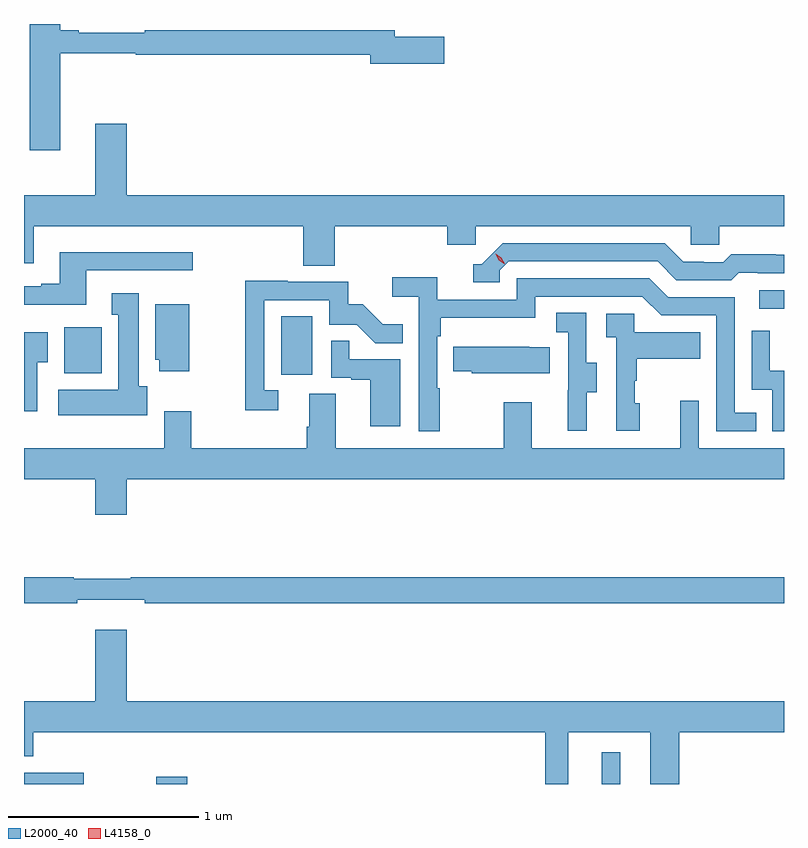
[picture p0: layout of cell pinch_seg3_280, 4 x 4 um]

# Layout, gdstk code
import gdstk
lib = gdstk.Library(unit=1e-6, precision=1e-09)
def R(c, l, rs):  # rectangles x0, y0, x1, y1
    for r in rs: c.add(gdstk.rectangle(r[:2], r[2:], *l))
def P(c, l, *ps):  # polygons
    for p in ps: c.add(gdstk.Polygon(p, *l))
L2000_40 = (2000, 40)
L4158_0 = (4158, 0)

pinch_seg3_280 = lib.new_cell('pinch_seg3_280')
R(pinch_seg3_280, L2000_40, [(931.864,713.964,932.179,714.024), (932.561,713.964,932.722,714.001), (934.904,713.964,935.002,714.13), (933.218,716.118,933.382,716.425), (932.075,716.126,932.272,716.368), (935.733,716.466,935.864,716.562)])
P(pinch_seg3_280, L2000_40, [(932.056,717.81),(932.452,717.81),(932.452,717.802),(933.686,717.802),(933.686,717.755),(934.075,717.755),(934.075,717.897),(933.814,717.897),(933.814,717.931),(932.5,717.931),(932.5,717.918),(932.152,717.918),(932.152,717.931),(932.056,717.931),(932.056,717.964),(931.895,717.964),(931.895,717.3),(932.056,717.3)],
  [(933.5,716.9),(934.091,716.9),(934.091,716.802),(934.242,716.802),(934.242,716.9),(935.373,716.9),(935.373,716.802),(935.523,716.802),(935.523,716.9),(935.864,716.9),(935.864,717.064),(932.404,717.064),(932.404,717.439),(932.24,717.439),(932.24,717.064),(931.864,717.064),(931.864,716.706),(931.915,716.706),(931.915,716.9),(933.335,716.9),(933.335,716.692),(933.5,716.692)],
  [(934.368,716.667),(934.416,716.715),(935.199,716.715),(935.298,716.616),(935.587,716.616),(935.626,716.655),(935.725,716.655),(935.725,716.652),(935.864,716.652),(935.864,716.749),(935.82,716.749),(935.82,716.752),(935.587,716.752),(935.545,716.709),(935.442,716.709),(935.442,716.712),(935.335,716.712),(935.236,716.811),(934.383,716.811),(934.272,716.7),(934.229,716.7),(934.229,716.604),(934.368,716.604)],
  [(932.191,716.667),(932.752,716.667),(932.752,716.764),(932.051,716.764),(932.051,716.596),(931.955,716.596),(931.955,716.583),(931.864,716.583),(931.864,716.486),(932.191,716.486)],
  [(934.051,716.048),(934.038,716.048),(934.038,716.321),(934.058,716.321),(934.058,716.417),(934.554,716.417),(934.554,716.529),(935.118,716.529),(935.217,716.43),(935.508,716.43),(935.508,715.821),(935.717,715.821),(935.717,715.917),(935.604,715.917),(935.604,716.526),(935.254,716.526),(935.155,716.625),(934.458,716.625),(934.458,716.514),(934.04,716.514),(934.04,716.63),(933.801,716.63),(933.801,716.528),(933.942,716.528),(933.942,715.821),(934.051,715.821)],
  [(933.202,716.037),(933.129,716.037),(933.129,716.511),(933.471,716.511),(933.471,716.382),(933.615,716.382),(933.713,716.284),(933.857,716.284),(933.857,716.383),(933.753,716.383),(933.646,716.49),(933.57,716.49),(933.57,716.607),(933.251,716.607),(933.251,716.612),(933.028,716.612),(933.028,715.932),(933.202,715.932)],
  [(932.512,716.058),(932.467,716.058),(932.467,716.548),(932.327,716.548),(932.327,716.435),(932.36,716.435),(932.36,716.038),(932.043,716.038),(932.043,715.904),(932.512,715.904)],
  [(932.734,716.488),(932.555,716.488),(932.555,716.196),(932.576,716.196),(932.576,716.136),(932.734,716.136)],
  [(934.825,716.026),(934.879,716.026),(934.879,716.181),(934.824,716.181),(934.824,716.444),(934.665,716.444),(934.665,716.341),(934.728,716.341),(934.728,716.037),(934.727,716.037),(934.727,715.824),(934.825,715.824)],
  [(935.104,715.968),(935.079,715.968),(935.079,716.087),(935.089,716.087),(935.089,716.201),(935.423,716.201),(935.423,716.341),(935.076,716.341),(935.076,716.439),(934.929,716.439),(934.929,716.315),(934.98,716.315),(934.98,715.824),(935.104,715.824)],
  [(935.864,716.138),(935.79,716.138),(935.79,716.35),(935.694,716.35),(935.694,716.04),(935.802,716.04),(935.802,715.821),(935.864,715.821)],
  [(931.933,716.185),(931.99,716.185),(931.99,716.341),(931.864,716.341),(931.864,715.926),(931.933,715.926)],
  [(933.844,716.199),(933.575,716.199),(933.575,716.297),(933.48,716.297),(933.48,716.103),(933.587,716.103),(933.587,716.091),(933.686,716.091),(933.686,715.848),(933.844,715.848)],
  [(934.631,716.263),(934.523,716.263),(934.523,716.266),(934.123,716.266),(934.123,716.137),(934.221,716.137),(934.221,716.126),(934.631,716.126)],
  [(935.864,715.732),(935.415,715.732),(935.415,715.981),(935.318,715.981),(935.318,715.732),(934.537,715.732),(934.537,715.972),(934.39,715.972),(934.39,715.732),(933.505,715.732),(933.505,716.018),(933.365,716.018),(933.365,715.844),(933.353,715.844),(933.353,715.732),(932.743,715.732),(932.743,715.927),(932.603,715.927),(932.603,715.732),(931.864,715.732),(931.864,715.568),(932.24,715.568),(932.24,715.38),(932.404,715.38),(932.404,715.568),(935.864,715.568)],
  [(932.144,714.935),(932.5,714.935),(932.5,714.916),(935.864,714.916),(935.864,715.052),(932.426,715.052),(932.426,715.045),(932.126,715.045),(932.126,715.052),(931.864,715.052),(931.864,714.916),(932.144,714.916)],
  [(934.729,714.236),(935.159,714.236),(935.159,713.964),(935.312,713.964),(935.312,714.236),(935.864,714.236),(935.864,714.4),(932.404,714.4),(932.404,714.775),(932.24,714.775),(932.24,714.4),(931.864,714.4),(931.864,714.109),(931.913,714.109),(931.913,714.236),(934.608,714.236),(934.608,713.964),(934.729,713.964)])
P(pinch_seg3_280, L4158_0, [(934.392,716.702),(934.362,716.721),(934.346,716.754),(934.346,716.754),(934.346,716.754),(934.377,716.735),(934.393,716.702),(934.393,716.702)])

lib.write_gds('pinch_seg3_280.gds')
